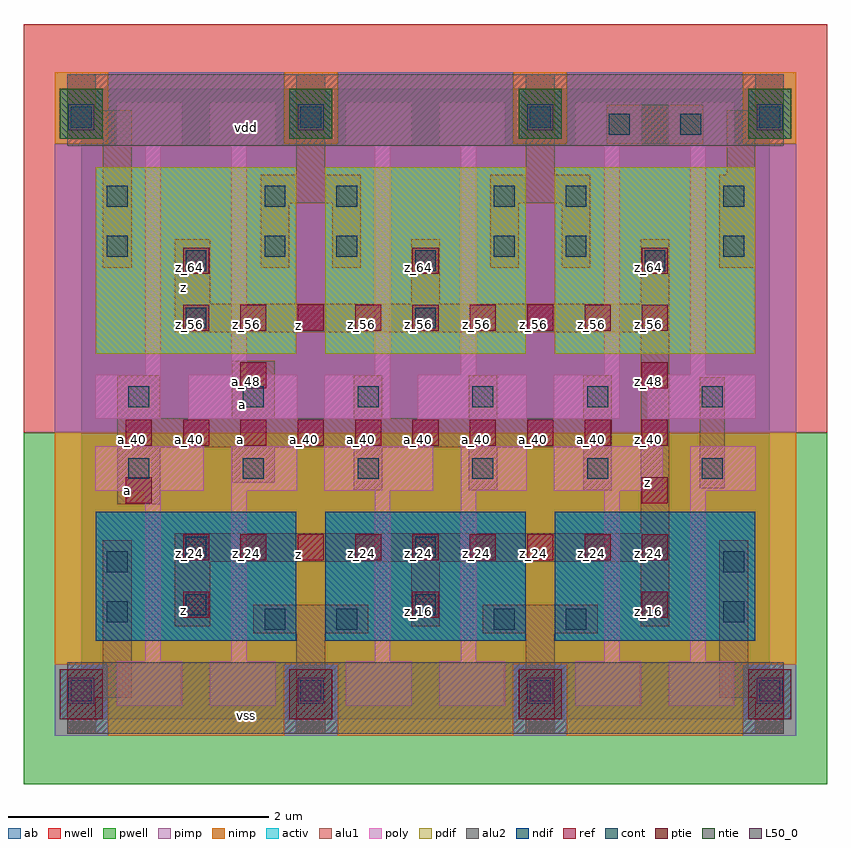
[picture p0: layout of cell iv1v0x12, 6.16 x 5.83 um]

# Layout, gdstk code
import gdstk
lib = gdstk.Library(unit=1e-6, precision=2.5e-09)
def R(c, l, rs):  # rectangles x0, y0, x1, y1
    for r in rs: c.add(gdstk.rectangle(r[:2], r[2:], *l))
def A(c, l, x, y, w, h, nx, ny, dx, dy):  # array of equal rectangles
    R(c, l, [(x+i*dx, y+j*dy, x+i*dx+w, y+j*dy+h) for i in range(nx) for j in range(ny)])
ndif = (3, 0)
pdif = (4, 0)
ntie = (5, 0)
ptie = (6, 0)
ref = (24, 0)
cont = (25, 0)
pwell = (41, 0)
nwell = (42, 0)
activ = (43, 0)
pimp = (44, 0)
nimp = (45, 0)
poly = (46, 0)
alu1 = (49, 0)
L50_0 = (50, 0)
alu2 = (51, 0)
ab = (63, 0)

iv1v0x12 = lib.new_cell('iv1v0x12')
A(iv1v0x12, ndif, 0.11, 0.605, 1.54, 0.99, 3, 1, 1.76, 0)
A(iv1v0x12, pdif, 0.11, 2.805, 1.54, 1.43, 3, 1, 1.76, 0)
A(iv1v0x12, ntie, -0.165, 4.455, 0.33, 0.385, 4, 1, 1.76, 0)
A(iv1v0x12, ptie, -0.165, 0, 0.33, 0.385, 4, 1, 1.76, 0)
A(iv1v0x12, ref, 0.78, 0.78, 0.2, 0.2, 3, 2, 1.76, 2.64)
A(iv1v0x12, ref, 0.78, 1.22, 0.2, 0.2, 9, 2, 0.44, 1.76)
A(iv1v0x12, ref, 0.34, 2.1, 0.2, 0.2, 10, 1, 0.44, 0)
R(iv1v0x12, ref, [(0.34,1.66,0.54,1.86), (4.3,1.66,4.5,1.86), (1.22,2.54,1.42,2.74), (4.3,2.54,4.5,2.74)])
A(iv1v0x12, cont, -0.08, 0.14, 0.16, 0.16, 4, 2, 1.76, 4.4)
A(iv1v0x12, cont, 0.36, 1.845, 0.16, 0.16, 6, 2, 0.88, 0.55)
A(iv1v0x12, cont, 0.8, 3.44, 0.16, 0.16, 3, 1, 1.76, 0)
R(iv1v0x12, cont, [(1.405,0.69,1.565,0.85), (1.955,0.69,2.115,0.85), (3.165,0.69,3.325,0.85), (3.715,0.69,3.875,0.85), (0.195,0.745,0.355,0.905), (4.925,0.745,5.085,0.905), (0.8,0.8,0.96,0.96), (2.56,0.8,2.72,0.96), (0.195,1.13,0.355,1.29), (4.925,1.13,5.085,1.29), (0.8,1.24,0.96,1.4), (2.56,1.24,2.72,1.4), (0.8,3,0.96,3.16), (2.56,3,2.72,3.16), (0.195,3.55,0.355,3.71), (1.405,3.55,1.565,3.71), (1.955,3.55,2.115,3.71), (3.165,3.55,3.325,3.71), (3.715,3.55,3.875,3.71), (4.925,3.55,5.085,3.71), (0.195,3.935,0.355,4.095), (1.405,3.935,1.565,4.095), (1.955,3.935,2.115,4.095), (3.165,3.935,3.325,4.095), (3.715,3.935,3.875,4.095), (4.925,3.935,5.085,4.095), (4.045,4.485,4.205,4.645), (4.595,4.485,4.755,4.645)])
R(iv1v0x12, pwell, [(-0.44,-0.495,5.72,2.2)])
R(iv1v0x12, nwell, [(-0.44,2.2,5.72,5.335)])
A(iv1v0x12, activ, -0.165, 0, 0.33, 0.385, 4, 2, 1.76, 4.455)
A(iv1v0x12, activ, 0.11, 0.605, 1.54, 0.99, 3, 1, 1.76, 0)
A(iv1v0x12, activ, 0.11, 2.805, 1.54, 1.43, 3, 1, 1.76, 0)
A(iv1v0x12, pimp, -0.205, -0.125, 0.41, 0.55, 4, 1, 1.76, 0)
A(iv1v0x12, pimp, 0.205, 4.415, 1.35, 0.55, 3, 1, 1.76, 0)
R(iv1v0x12, pimp, [(-0.205,2.2,5.485,4.415)])
A(iv1v0x12, nimp, 0.205, -0.125, 1.35, 0.55, 3, 1, 1.76, 0)
A(iv1v0x12, nimp, -0.205, 4.415, 0.41, 0.55, 4, 1, 1.76, 0)
R(iv1v0x12, nimp, [(-0.205,0.425,5.485,2.2)])
A(iv1v0x12, poly, 0.105, 1.755, 0.835, 0.34, 3, 1, 1.76, 0)
A(iv1v0x12, poly, 1.15, 1.755, 0.505, 0.34, 3, 1, 1.76, 0)
A(iv1v0x12, poly, 0.105, 2.305, 0.505, 0.34, 3, 1, 1.76, 0)
A(iv1v0x12, poly, 0.82, 2.305, 0.835, 0.34, 3, 1, 1.76, 0)
R(iv1v0x12, poly, [(0.27,0.105,0.775,0.445), (0.985,0.105,1.49,0.445), (2.03,0.105,2.535,0.445), (2.745,0.105,3.25,0.445), (3.79,0.105,4.295,0.445), (4.505,0.105,5.01,0.445), (0.49,0.445,0.61,1.755), (1.15,0.445,1.27,1.755), (2.25,0.445,2.37,1.755), (2.91,0.445,3.03,1.755), (4.01,0.445,4.13,1.755), (4.67,0.445,4.79,1.755), (0.49,2.645,0.61,4.395), (1.15,2.645,1.27,4.395), (2.25,2.645,2.37,4.395), (2.91,2.645,3.03,4.395), (4.01,2.645,4.13,4.395), (4.67,2.645,4.79,4.395), (0.27,4.395,0.775,4.735), (0.985,4.395,1.49,4.735), (2.03,4.395,2.535,4.735), (2.745,4.395,3.25,4.735), (3.79,4.395,4.295,4.735), (4.505,4.395,5.01,4.735)])
A(iv1v0x12, alu1, 2.09, 1.76, 0.22, 0.33, 3, 2, 0.88, 0.55)
R(iv1v0x12, alu1, [(-0.11,-0.11,0.11,0.165), (1.65,-0.11,1.87,0.66), (3.41,-0.11,3.63,0.66), (5.17,-0.11,5.39,0.165), (-0.11,0.165,0.385,0.385), (4.895,0.165,5.39,0.385), (0.165,0.385,0.385,1.375), (4.895,0.385,5.115,1.375), (1.32,0.66,2.2,0.88), (3.08,0.66,3.96,0.88), (0.715,0.715,0.99,1.21), (2.53,0.715,2.75,1.21), (4.29,0.715,4.51,1.21), (0.715,1.21,4.51,1.43), (4.29,1.43,4.51,2.97), (0.275,1.65,0.605,2.09), (4.745,1.775,4.935,2.625), (1.155,1.815,1.485,2.09), (0.275,2.09,4.07,2.31), (0.275,2.31,0.605,2.64), (1.155,2.31,1.485,2.75), (0.715,2.97,4.51,3.19), (0.715,3.19,0.99,3.685), (2.53,3.19,2.75,3.685), (4.29,3.19,4.51,3.685), (0.165,3.465,0.385,4.455), (1.375,3.465,1.595,3.96), (1.925,3.465,2.145,3.96), (3.135,3.465,3.355,3.96), (3.685,3.465,3.905,3.96), (4.895,3.465,5.17,4.18), (1.375,3.96,2.145,4.18), (3.135,3.96,3.905,4.18), (1.65,4.18,1.87,4.95), (3.41,4.18,3.63,4.95), (4.95,4.18,5.17,4.455), (4.03,4.415,4.77,4.715), (-0.11,4.455,0.385,4.675), (4.95,4.455,5.39,4.675), (-0.11,4.675,0.11,4.95), (5.17,4.675,5.39,4.95)])
A(iv1v0x12, L50_0, -0.1, 0.12, 0.2, 0.2, 4, 2, 1.76, 4.4)
R(iv1v0x12, alu2, [(-0.11,-0.11,5.39,0.44), (-0.11,4.4,5.39,4.95)])
R(iv1v0x12, ab, [(0,0,5.28,4.84)])
iv1v0x12.add(gdstk.Label('z', (0.7825,0.8375), layer=49, texttype=0))
iv1v0x12.add(gdstk.Label('z', (1.6625,1.265), layer=49, texttype=0))
iv1v0x12.add(gdstk.Label('z', (4.345,1.815), layer=49, texttype=0))
iv1v0x12.add(gdstk.Label('a', (0.3575,1.76), layer=49, texttype=0))
iv1v0x12.add(gdstk.Label('a', (1.2225,2.145), layer=49, texttype=0))
iv1v0x12.add(gdstk.Label('a', (1.2375,2.42), layer=49, texttype=0))
iv1v0x12.add(gdstk.Label('z', (1.6625,3.025), layer=49, texttype=0))
iv1v0x12.add(gdstk.Label('z', (0.7825,3.3125), layer=49, texttype=0))
iv1v0x12.add(gdstk.Label('vss', (1.265,0.0275), layer=51, texttype=0))
iv1v0x12.add(gdstk.Label('vdd', (1.265,4.5375), layer=51, texttype=0))
iv1v0x12.add(gdstk.Label('a_48', (1.27,2.59), layer=24, texttype=0))
iv1v0x12.add(gdstk.Label('z_24', (0.83,1.27), layer=24, texttype=0))
iv1v0x12.add(gdstk.Label('z_56', (0.83,3.03), layer=24, texttype=0))
iv1v0x12.add(gdstk.Label('z_64', (0.83,3.47), layer=24, texttype=0))
iv1v0x12.add(gdstk.Label('z_56', (1.27,3.03), layer=24, texttype=0))
iv1v0x12.add(gdstk.Label('z_56', (1.71,3.03), layer=24, texttype=0))
iv1v0x12.add(gdstk.Label('z_56', (2.15,3.03), layer=24, texttype=0))
iv1v0x12.add(gdstk.Label('z_24', (2.15,1.27), layer=24, texttype=0))
iv1v0x12.add(gdstk.Label('z_24', (1.71,1.27), layer=24, texttype=0))
iv1v0x12.add(gdstk.Label('z_24', (1.27,1.27), layer=24, texttype=0))
iv1v0x12.add(gdstk.Label('a_40', (2.15,2.15), layer=24, texttype=0))
iv1v0x12.add(gdstk.Label('a_40', (1.71,2.15), layer=24, texttype=0))
iv1v0x12.add(gdstk.Label('a_40', (1.27,2.15), layer=24, texttype=0))
iv1v0x12.add(gdstk.Label('a_40', (0.83,2.15), layer=24, texttype=0))
iv1v0x12.add(gdstk.Label('z_16', (2.59,0.83), layer=24, texttype=0))
iv1v0x12.add(gdstk.Label('z_24', (2.59,1.27), layer=24, texttype=0))
iv1v0x12.add(gdstk.Label('z_56', (2.59,3.03), layer=24, texttype=0))
iv1v0x12.add(gdstk.Label('z_16', (0.83,0.83), layer=24, texttype=0))
iv1v0x12.add(gdstk.Label('a_32', (0.39,1.71), layer=24, texttype=0))
iv1v0x12.add(gdstk.Label('a_40', (0.39,2.15), layer=24, texttype=0))
iv1v0x12.add(gdstk.Label('z_64', (4.35,3.47), layer=24, texttype=0))
iv1v0x12.add(gdstk.Label('z_64', (2.59,3.47), layer=24, texttype=0))
iv1v0x12.add(gdstk.Label('z_48', (4.35,2.59), layer=24, texttype=0))
iv1v0x12.add(gdstk.Label('z_32', (4.35,1.71), layer=24, texttype=0))
iv1v0x12.add(gdstk.Label('z_40', (4.35,2.15), layer=24, texttype=0))
iv1v0x12.add(gdstk.Label('a_40', (3.03,2.15), layer=24, texttype=0))
iv1v0x12.add(gdstk.Label('a_40', (3.91,2.15), layer=24, texttype=0))
iv1v0x12.add(gdstk.Label('z_56', (3.03,3.03), layer=24, texttype=0))
iv1v0x12.add(gdstk.Label('z_56', (3.47,3.03), layer=24, texttype=0))
iv1v0x12.add(gdstk.Label('z_56', (3.91,3.03), layer=24, texttype=0))
iv1v0x12.add(gdstk.Label('z_24', (3.47,1.27), layer=24, texttype=0))
iv1v0x12.add(gdstk.Label('z_24', (3.03,1.27), layer=24, texttype=0))
iv1v0x12.add(gdstk.Label('z_24', (3.91,1.27), layer=24, texttype=0))
iv1v0x12.add(gdstk.Label('z_24', (4.35,1.27), layer=24, texttype=0))
iv1v0x12.add(gdstk.Label('z_16', (4.35,0.83), layer=24, texttype=0))
iv1v0x12.add(gdstk.Label('z_56', (4.35,3.03), layer=24, texttype=0))
iv1v0x12.add(gdstk.Label('a_40', (2.59,2.15), layer=24, texttype=0))
iv1v0x12.add(gdstk.Label('a_40', (3.47,2.15), layer=24, texttype=0))

lib.write_gds('iv1v0x12.gds')
